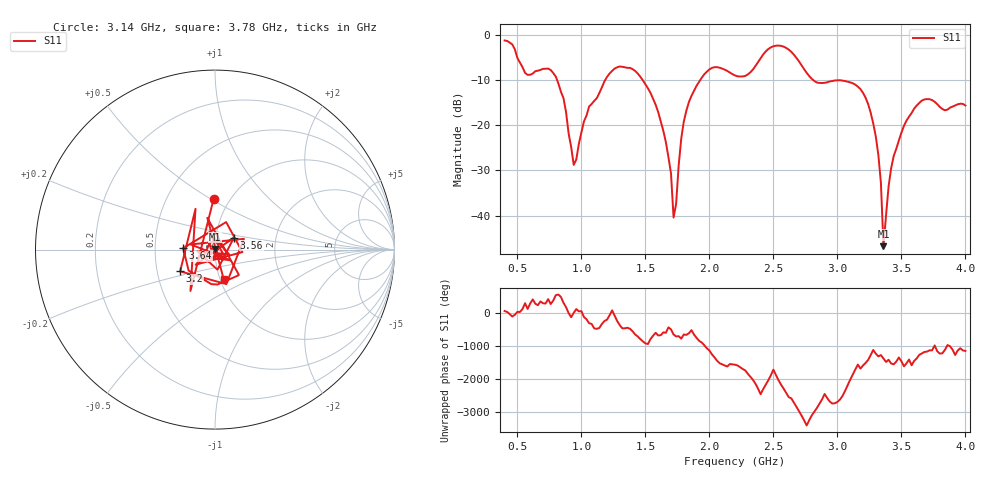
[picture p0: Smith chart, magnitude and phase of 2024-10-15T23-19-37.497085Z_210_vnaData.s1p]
! Created with skrf (http://scikit-rf.org).
# Hz S RI R 50.0
!freq ReS11 ImS11
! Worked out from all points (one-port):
!   181 points, 400 MHz to 4 GHz, reference 50 ohm
!   lowest |S11| = -46.8 dB at 3.36 GHz (marker M1), VSWR 1.01, Z = 50.2 + j0.413 ohm
!   |S11| at or under -10 dB: 810.2 MHz to 1.185 GHz (375.1 MHz wide, 37.6 % of centre); 1.479 GHz to 1.928 GHz (448.4 MHz wide, 26.3 % of centre); 2.812 GHz to end of sweep
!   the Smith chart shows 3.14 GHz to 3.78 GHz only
!   S11 on the Smith chart (normalised r, x): 3.14 GHz: 0.84, +0.51; 3.2 GHz: 0.66, -0.17; 3.56 GHz: 1.22, +0.17; 3.64 GHz: 0.70, +0.01; 3.78 GHz: 1.04, -0.35
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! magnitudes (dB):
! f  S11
! 400 MHz  -1.2
! 580 MHz  -8.8
! 760 MHz  -7.7
! 860 MHz  -14.0
! 940 MHz  -28.8
! 1.06 GHz  -15.8
! 1.3 GHz  -7.0
! 1.58 GHz  -15.4
! 1.68 GHz  -27.1
! 1.72 GHz  -40.4
! 1.76 GHz  -28.9
! 1.8 GHz  -19.2
! 1.9 GHz  -11.2
! 2.2 GHz  -9.0
! 2.5 GHz  -2.5
! 2.66 GHz  -4.4
! 2.84 GHz  -10.5
! 3.1 GHz  -10.5
! 3.14 GHz  -11.0
! 3.2 GHz  -12.8
! 3.32 GHz  -26.6
! 3.34 GHz  -32.8
! 3.36 GHz  -46.8
! 3.42 GHz  -29.5
! 3.56 GHz  -18.1
! 3.64 GHz  -15.0
! 3.78 GHz  -15.3
! 4 GHz  -15.6
